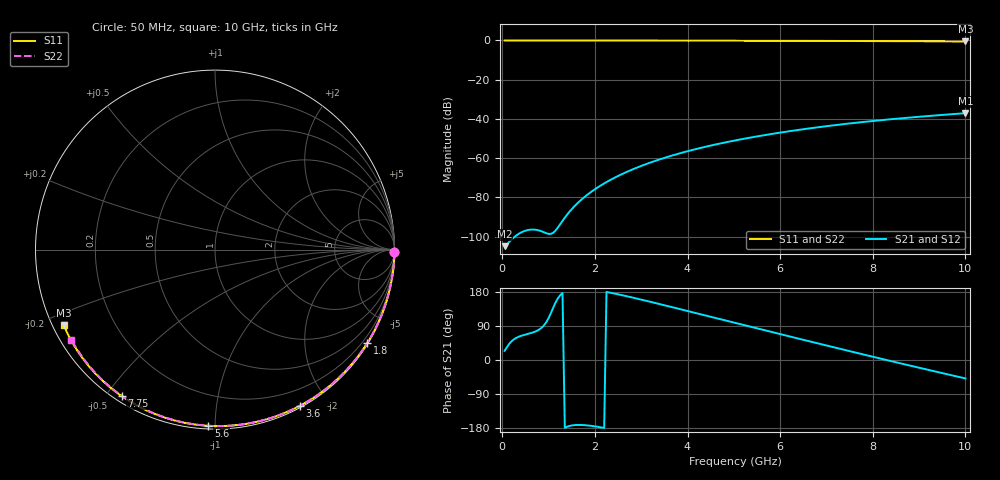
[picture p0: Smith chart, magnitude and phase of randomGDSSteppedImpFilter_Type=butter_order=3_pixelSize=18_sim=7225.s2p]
! freq	dB(S11)	phase(S11)	dB(S12)	phase(S12)
!  dB(S21)	phase(S21)	dB(S22)	phase(S22)
!S-par simulation data
#  GHz  S  DB  R 50
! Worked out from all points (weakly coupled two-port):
!   200 points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, 50 MHz to 10 GHz, reference 50 ohm
!   highest |S21| = -37.07 dB at 10 GHz (marker M1); lowest = -104.9 dB at 50 MHz (marker M2)
!   lowest |S11| = -0.5 dB at 10 GHz (marker M3), VSWR 33.64, Z = 1.57 - j11.8 ohm
!   |S11| at or under -10 dB: nowhere
!   |S22| runs from -0.5 to 0.0 dB; largest |S21 - S12| = 0
!   S11 on the Smith chart (normalised r, x): 50 MHz: open; 1.8 GHz: 0.03, -3.54; 3.6 GHz: 0.02, -1.68; 5.6 GHz: 0.02, -0.96; 7.75 GHz: 0.02, -0.55; 10 GHz: 0.03, -0.24
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0.05  -0.00 -0.9  -104.86 24.2  -104.86 24.2  -0.00 -0.9
0.45  -0.01 -8.0  -97.40 65.4  -97.40 65.4  -0.01 -7.7
0.85  -0.02 -15.1  -97.29 85.2  -97.29 85.2  -0.02 -14.5
1.3  -0.03 -22.9  -91.96 176.8  -91.96 176.8  -0.03 -22.1
1.75  -0.04 -30.7  -80.28 -171.7  -80.28 -171.7  -0.04 -29.6
1.8  -0.04 -31.5  -79.31 -172.1  -79.31 -172.1  -0.04 -30.4
1.95  -0.04 -34.1  -76.66 -174.2  -76.66 -174.2  -0.04 -32.9
2.1  -0.05 -36.7  -74.30 -177.1  -74.30 -177.1  -0.05 -35.4
2.3  -0.05 -40.1  -71.53 178.4  -71.53 178.4  -0.05 -38.6
2.5  -0.06 -43.4  -69.07 173.3  -69.07 173.3  -0.05 -41.9
2.9  -0.06 -50.1  -64.88 162.3  -64.88 162.3  -0.06 -48.3
3.4  -0.08 -58.2  -60.60 147.5  -60.60 147.5  -0.07 -56.2
3.6  -0.08 -61.4  -59.12 141.5  -59.12 141.5  -0.08 -59.3
4.3  -0.10 -72.5  -54.68 120.1  -54.68 120.1  -0.10 -70.0
5.05  -0.13 -83.9  -50.86 97.1  -50.86 97.1  -0.12 -81.1
5.6  -0.15 -92.1  -48.50 80.4  -48.50 80.4  -0.15 -89.0
6.15  -0.18 -100.1  -46.44 63.8  -46.44 63.8  -0.17 -96.7
6.7  -0.21 -107.9  -44.60 47.3  -44.60 47.3  -0.20 -104.3
7.75  -0.28 -122.6  -41.66 16.0  -41.66 16.0  -0.27 -118.4
8.35  -0.34 -130.8  -40.25 -1.6  -40.25 -1.6  -0.32 -126.3
9.2  -0.42 -142.4  -38.51 -26.1  -38.51 -26.1  -0.41 -137.4
10  -0.52 -153.5  -37.07 -48.6  -37.07 -48.6  -0.50 -147.9
